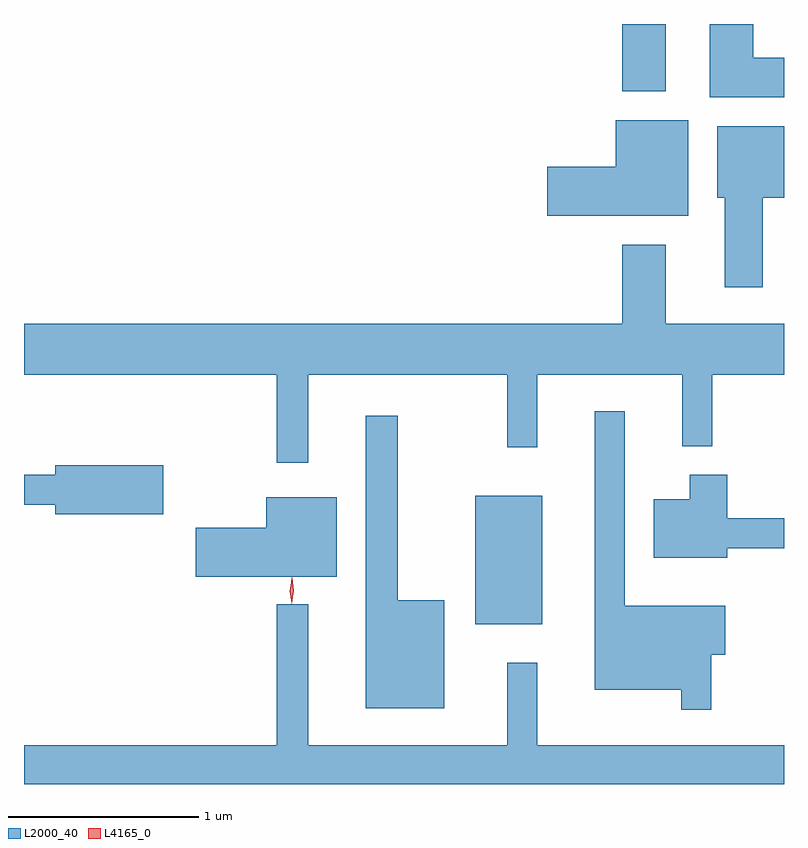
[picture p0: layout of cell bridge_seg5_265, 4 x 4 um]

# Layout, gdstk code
import gdstk
lib = gdstk.Library(unit=1e-6, precision=1e-09)
def R(c, l, rs):  # rectangles x0, y0, x1, y1
    for r in rs: c.add(gdstk.rectangle(r[:2], r[2:], *l))
def P(c, l, *ps):  # polygons
    for p in ps: c.add(gdstk.Polygon(p, *l))
L2000_40 = (2000, 40)
L4165_0 = (4165, 0)

bridge_seg5_265 = lib.new_cell('bridge_seg5_265')
R(bridge_seg5_265, L2000_40, [(690.736,1519.861,691.089,1520.539), (691.511,1522.666,691.739,1523.021)])
P(bridge_seg5_265, L2000_40, [(692.362,1522.844),(692.199,1522.844),(692.199,1523.021),(691.971,1523.021),(691.971,1522.636),(692.362,1522.636)],
  [(691.859,1522.514),(691.476,1522.514),(691.476,1522.269),(691.116,1522.269),(691.116,1522.011),(691.859,1522.011)],
  [(692.249,1522.106),(692.362,1522.106),(692.362,1522.484),(692.011,1522.484),(692.011,1522.106),(692.051,1522.106),(692.051,1521.636),(692.249,1521.636)],
  [(688.362,1521.176),(689.691,1521.176),(689.691,1520.713),(689.859,1520.713),(689.859,1521.176),(690.906,1521.176),(690.906,1520.793),(691.064,1520.793),(691.064,1521.176),(691.826,1521.176),(691.826,1520.798),(691.984,1520.798),(691.984,1521.176),(692.362,1521.176),(692.362,1521.444),(691.739,1521.444),(691.739,1521.859),(691.511,1521.859),(691.511,1521.444),(688.362,1521.444)],
  [(691.979,1519.701),(692.054,1519.701),(692.054,1519.959),(691.524,1519.959),(691.524,1520.983),(691.366,1520.983),(691.366,1519.516),(691.821,1519.516),(691.821,1519.413),(691.979,1519.413)],
  [(690.574,1519.989),(690.329,1519.989),(690.329,1520.958),(690.161,1520.958),(690.161,1519.421),(690.574,1519.421)],
  [(689.094,1520.699),(688.526,1520.699),(688.526,1520.649),(688.362,1520.649),(688.362,1520.491),(688.526,1520.491),(688.526,1520.441),(689.094,1520.441)],
  [(692.064,1520.261),(692.362,1520.261),(692.362,1520.419),(692.064,1520.419),(692.064,1520.649),(691.866,1520.649),(691.866,1520.519),(691.676,1520.519),(691.676,1520.211),(692.064,1520.211)],
  [(690.009,1520.529),(689.636,1520.529),(689.636,1520.369),(689.266,1520.369),(689.266,1520.111),(690.009,1520.111)],
  [(692.362,1519.224),(691.064,1519.224),(691.064,1519.658),(690.906,1519.658),(690.906,1519.224),(689.859,1519.224),(689.859,1519.968),(689.691,1519.968),(689.691,1519.224),(688.362,1519.224),(688.362,1519.021),(692.362,1519.021)])
P(bridge_seg5_265, L4165_0, [(689.77,1519.97),(689.762,1520.038),(689.772,1520.106),(689.772,1520.106),(689.773,1520.106),(689.782,1520.038),(689.772,1519.97),(689.771,1519.97)],
  [(689.771,1519.973),(689.77,1519.974),(689.761,1520.036),(689.77,1520.099),(689.77,1520.1),(689.771,1520.099),(689.781,1520.036),(689.772,1519.974)])

lib.write_gds('bridge_seg5_265.gds')
